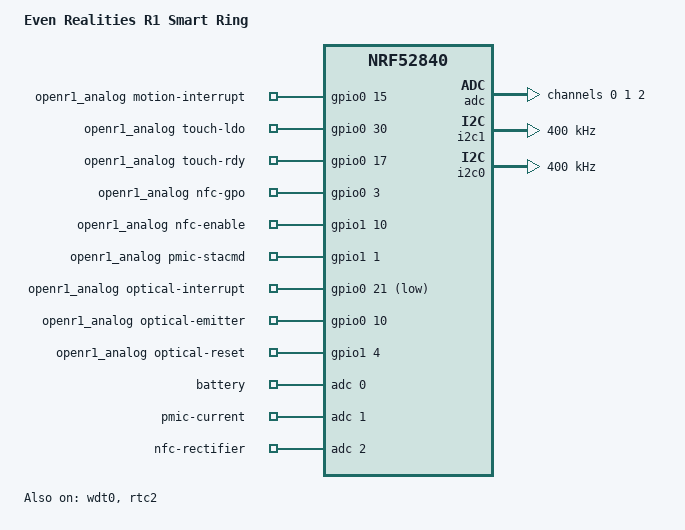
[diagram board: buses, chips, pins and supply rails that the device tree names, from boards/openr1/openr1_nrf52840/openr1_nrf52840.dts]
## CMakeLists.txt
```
# SPDX-License-Identifier: Apache-2.0

cmake_minimum_required(VERSION 3.20.0)

list(APPEND BOARD_ROOT ${CMAKE_CURRENT_SOURCE_DIR})
find_package(Zephyr REQUIRED HINTS $ENV{ZEPHYR_BASE})
project(openr1_zephyr)

if(SYSBUILD)
  zephyr_get(OPENR1_BMA456_ROOT SYSBUILD GLOBAL)
  zephyr_get(OPENR1_LIS2DW12_ROOT SYSBUILD GLOBAL)
  zephyr_get(OPENR1_ST25DVXXKC_ROOT SYSBUILD GLOBAL)
  zephyr_get(OPENR1_FLASHDB_ROOT SYSBUILD GLOBAL)
  zephyr_get(OPENR1_GOODIX_DEMOCODE_ROOT SYSBUILD GLOBAL)
endif()

get_filename_component(OPENR1_ROOT "${CMAKE_CURRENT_SOURCE_DIR}/../../.." ABSOLUTE)

if(NOT DEFINED OPENR1_BMA456_ROOT OR
   NOT EXISTS "${OPENR1_BMA456_ROOT}/bma4.c" OR
   NOT EXISTS "${OPENR1_BMA456_ROOT}/bma456w.c")
  message(FATAL_ERROR "OPENR1_BMA456_ROOT must name the pinned Bosch BMA456 SensorAPI root")
endif()
if(NOT DEFINED OPENR1_LIS2DW12_ROOT OR
   NOT EXISTS "${OPENR1_LIS2DW12_ROOT}/lis2dw12_reg.c")
  message(FATAL_ERROR "OPENR1_LIS2DW12_ROOT must name the pinned ST LIS2DW12 provider root")
endif()
if(NOT DEFINED OPENR1_ST25DVXXKC_ROOT OR
   NOT EXISTS "${OPENR1_ST25DVXXKC_ROOT}/st25dvxxkc.c" OR
   NOT EXISTS "${OPENR1_ST25DVXXKC_ROOT}/st25dvxxkc_reg.c")
  message(FATAL_ERROR "OPENR1_ST25DVXXKC_ROOT must name the pinned ST25DVxxKC component root")
endif()
if(NOT DEFINED OPENR1_FLASHDB_ROOT OR
   NOT EXISTS "${OPENR1_FLASHDB_ROOT}/src/fdb.c" OR
   NOT EXISTS "${OPENR1_FLASHDB_ROOT}/src/fdb_tsdb.c" OR
   NOT EXISTS "${OPENR1_FLASHDB_ROOT}/port/fal/src/fal_partition.c")
  message(FATAL_ERROR "OPENR1_FLASHDB_ROOT must name pinned FlashDB 2.0.0 with bundled FAL 0.5.99")
endif()
if(NOT DEFINED OPENR1_GOODIX_DEMOCODE_ROOT OR
   NOT EXISTS "${OPENR1_GOODIX_DEMOCODE_ROOT}/LICENSE" OR
   NOT EXISTS "${OPENR1_GOODIX_DEMOCODE_ROOT}/demo_code/demo_kernel_code/kernel/gh_demo.c" OR
   NOT EXISTS "${OPENR1_GOODIX_DEMOCODE_ROOT}/demo_code/demo_kernel_code/driver/src/gh_drv_control.c")
  message(FATAL_ERROR "OPENR1_GOODIX_DEMOCODE_ROOT must name the pinned Goodix GH3X2X democode root")
endif()
get_filename_component(OPENR1_BMA456_ROOT "${OPENR1_BMA456_ROOT}" ABSOLUTE)
get_filename_component(OPENR1_LIS2DW12_ROOT "${OPENR1_LIS2DW12_ROOT}" ABSOLUTE)
get_filename_component(OPENR1_ST25DVXXKC_ROOT "${OPENR1_ST25DVXXKC_ROOT}" ABSOLUTE)
get_filename_component(OPENR1_FLASHDB_ROOT "${OPENR1_FLASHDB_ROOT}" ABSOLUTE)
get_filename_component(OPENR1_GOODIX_DEMOCODE_ROOT "${OPENR1_GOODIX_DEMOCODE_ROOT}" ABSOLUTE)

set(OPENR1_GOODIX_DRIVER_DIR
  ${OPENR1_GOODIX_DEMOCODE_ROOT}/demo_code/demo_kernel_code/driver)
set(OPENR1_GOODIX_KERNEL_DIR
  ${OPENR1_GOODIX_DEMOCODE_ROOT}/demo_code/demo_kernel_code/kernel)
set(OPENR1_GOODIX_MODULE_DIR
  ${OPENR1_GOODIX_DEMOCODE_ROOT}/demo_code/demo_kernel_code/module)
set(OPENR1_GOODIX_ALGO_CALL_DIR
  ${OPENR1_GOODIX_DEMOCODE_ROOT}/demo_code/demo_algo_code/goodix_algo_call/inc)
set(OPENR1_GOODIX_SOURCES
  ${OPENR1_GOODIX_DRIVER_DIR}/src/gh_drv_config.c
  ${OPENR1_GOODIX_DRIVER_DIR}/src/gh_drv_control.c
  ${OPENR1_GOODIX_DRIVER_DIR}/src/gh_drv_dump.c
  ${OPENR1_GOODIX_DRIVER_DIR}/src/gh_drv_interface.c
  ${OPENR1_GOODIX_KERNEL_DIR}/gh_demo.c
  ${OPENR1_GOODIX_KERNEL_DIR}/gh_demo_hook.c
  ${OPENR1_GOODIX_KERNEL_DIR}/gh_demo_reg_array.c
  ${OPENR1_GOODIX_KERNEL_DIR}/gh_demo_user.c
  ${OPENR1_GOODIX_MODULE_DIR}/gh_agc/gh_agc.c
  ${OPENR1_GOODIX_MODULE_DIR}/gh_other/gh_changeinttime.c
  ${OPENR1_GOODIX_MODULE_DIR}/gh_other/gh_movedetect.c
  ${OPENR1_GOODIX_MODULE_DIR}/gh_soft_adt/gh_multi_sen_pro.c
  ${OPENR1_GOODIX_DEMOCODE_ROOT}/algo_lib/algo_params/HR/04_EXCLUSIVE/goodix_hba_config.c
  ${OPENR1_GOODIX_DEMOCODE_ROOT}/algo_lib/algo_params/goodix_hrv_config.c
  ${OPENR1_GOODIX_DEMOCODE_ROOT}/algo_lib/algo_params/SPO2/goodix_spo2_config_for_gh3x2x-v2.23_7ecd2a.c
)

set(OPENR1_PORTABLE_SOURCES
  ${OPENR1_ROOT}/src/r1_crc.c
  ${OPENR1_ROOT}/src/r1_protocol.c
  ${OPENR1_ROOT}/src/r1_health.c
  ${OPENR1_ROOT}/src/r1_health_db.c
  ${OPENR1_ROOT}/src/r1_twi_sync.c
  ${OPENR1_ROOT}/src/r1_retained_log.c
  ${OPENR1_ROOT}/src/r1_reset_trace.c
  ${OPENR1_ROOT}/src/r1_reset_reason.c
  ${OPENR1_ROOT}/src/r1_state.c
  ${OPENR1_ROOT}/src/r1_storage.c
  ${OPENR1_ROOT}/src/r1_kv_store.c
  ${OPENR1_ROOT}/src/r1_nv_recovery.c
  ${OPENR1_ROOT}/src/r1_sleep_db.c
  ${OPENR1_ROOT}/src/r1_persistence.c
  ${OPENR1_ROOT}/src/r1_connection_params.c
  ${OPENR1_ROOT}/src/r1_peer_target.c
  ${OPENR1_ROOT}/src/r1_event.c
  ${OPENR1_ROOT}/src/r1_event_bus.c
  ${OPENR1_ROOT}/src/r1_dispatch.c
  ${OPENR1_ROOT}/src/r1_crypto.c
  ${OPENR1_ROOT}/src/r1_goodix.c
  ${OPENR1_ROOT}/src/r1_iqs7211e.c
  ${OPENR1_ROOT}/src/r1_st25dvxxkc.c
  ${OPENR1_ROOT}/src/r1_power_lease.c
  ${OPENR1_ROOT}/src/r1_battery.c
  ${OPENR1_ROOT}/src/r1_motion.c
  ${OPENR1_ROOT}/src/r1_wear.c
  ${OPENR1_ROOT}/src/r1_clock.c
  ${OPENR1_ROOT}/src/r1_gpio_registry.c
  ${OPENR1_ROOT}/src/r1_runtime.c
  ${OPENR1_ROOT}/platform/nrf52840/r1_nrf52840.c
  ${OPENR1_ROOT}/platform/nrf52840/openr1_rtc_service.c
  ${OPENR1_ROOT}/port/r1_fal_port.c
  ${OPENR1_ROOT}/port/goodix_gh3x2x/r1_gh3x2x_port.c
  ${OPENR1_ROOT}/port/goodix_gh3x2x/r1_gh3x2x_provider_composer.c
  ${OPENR1_ROOT}/port/goodix_gh3x2x/r1_gh3x2x_reconstructed_roots.c
)

set(OPENR1_RECONSTRUCTED_SOURCES
  ${OPENR1_ROOT}/reconstructed/rtc_device/rtc_device.c
  ${OPENR1_ROOT}/reconstructed/generic_device_registry/generic_device_registry.c
  ${OPENR1_ROOT}/reconstructed/software_twi/software_twi.c
  ${OPENR1_ROOT}/reconstructed/sensor_stream/sensor_stream.c
  ${OPENR1_ROOT}/reconstructed/time_calendar/time_calendar.c
  ${OPENR1_ROOT}/reconstructed/model_data/r1_model_data.c
  ${OPENR1_ROOT}/reconstructed/quantized_runtime/quantized_runtime.c
  ${OPENR1_ROOT}/reconstructed/gxt310/gxt310.c
  ${OPENR1_ROOT}/reconstructed/qma6100/qma6100.c
  ${OPENR1_ROOT}/reconstructed/yhm2710/yhm2710.c
  ${OPENR1_ROOT}/reconstructed/goodix_primitives/goodix_primitives.c
  ${OPENR1_ROOT}/reconstructed/goodix_heap/goodix_heap.c
  ${OPENR1_ROOT}/reconstructed/gomore_primitives/gomore_primitives.c
  ${OPENR1_ROOT}/reconstructed/gomore_tensor_runtime/gomore_tensor_runtime.c
)

target_sources(app PRIVATE
  src/main.c
  src/openr1_bae8_zephyr.c
  src/openr1_analog_zephyr.c
  src/openr1_battery_zephyr.c
  src/openr1_clock_zephyr.c
  src/openr1_health_results_zephyr.c
  src/openr1_gomore_zephyr.c
  src/openr1_motion_zephyr.c
  src/openr1_nfc_zephyr.c
  src/openr1_nfc_resources_zephyr.c
  src/openr1_optical_zephyr.c
  src/openr1_power_zephyr.c
  src/openr1_reset_zephyr.c
  src/openr1_rtc_zephyr.c
  src/openr1_sensor_stream_zephyr.c
  src/openr1_storage_zephyr.c
  src/openr1_software_twi_zephyr.c
  src/openr1_temperature_zephyr.c
  src/openr1_touch_zephyr.c
  src/openr1_twim1_zephyr.c
  src/openr1_databases_zephyr.c
  src/openr1_watchdog_zephyr.c
  src/openr1_yhm2710_zephyr.c
  ${OPENR1_ROOT}/port/goodix_gh3x2x/r1_gh3x2x_bind.c
  ${OPENR1_ROOT}/port/goodix_gh3x2x/r1_gh3x2x_stubs.c
  ${OPENR1_PORTABLE_SOURCES}
  ${OPENR1_RECONSTRUCTED_SOURCES}
  ${OPENR1_BMA456_ROOT}/bma4.c
  ${OPENR1_BMA456_ROOT}/bma456w.c
  ${OPENR1_LIS2DW12_ROOT}/lis2dw12_reg.c
  ${OPENR1_ST25DVXXKC_ROOT}/st25dvxxkc.c
  ${OPENR1_ST25DVXXKC_ROOT}/st25dvxxkc_reg.c
  ${OPENR1_FLASHDB_ROOT}/src/fdb.c
  ${OPENR1_FLASHDB_ROOT}/src/fdb_tsdb.c
  ${OPENR1_FLASHDB_ROOT}/src/fdb_utils.c
  ${OPENR1_FLASHDB_ROOT}/port/fal/src/fal.c
  ${OPENR1_FLASHDB_ROOT}/port/fal/src/fal_flash.c
  ${OPENR1_FLASHDB_ROOT}/port/fal/src/fal_partition.c
  ${OPENR1_GOODIX_SOURCES}
)

target_include_directories(app PRIVATE
  ${OPENR1_ROOT}/include
  ${OPENR1_ROOT}/reconstructed
  ${OPENR1_ROOT}/platform/nrf52840
  ${OPENR1_ROOT}/port
  ${OPENR1_ROOT}/port/goodix_gh3x2x
  ${OPENR1_BMA456_ROOT}
  ${OPENR1_LIS2DW12_ROOT}
  ${OPENR1_ST25DVXXKC_ROOT}
  ${OPENR1_FLASHDB_ROOT}/inc
  ${OPENR1_FLASHDB_ROOT}/port/fal/inc
  ${OPENR1_ROOT}/port/goodix_gh3x2x/config
  ${OPENR1_GOODIX_DRIVER_DIR}/inc
  ${OPENR1_GOODIX_KERNEL_DIR}
  ${OPENR1_GOODIX_MODULE_DIR}/gh_agc
  ${OPENR1_GOODIX_MODULE_DIR}/gh_ecg
  ${OPENR1_GOODIX_MODULE_DIR}/gh_other
  ${OPENR1_GOODIX_MODULE_DIR}/gh_protocol
  ${OPENR1_GOODIX_MODULE_DIR}/gh_soft_adt
  ${OPENR1_GOODIX_DEMOCODE_ROOT}/demo_code/demo_algo_code/goodix_algo_application/inc
  ${OPENR1_GOODIX_ALGO_CALL_DIR}
  ${OPENR1_GOODIX_ALGO_CALL_DIR}/hr_exc
  ${OPENR1_GOODIX_ALGO_CALL_DIR}/spo2_pre_exc
)

# The stock-compatible dual AES adapter remains shared with the nRF5 target;
# this backend selects Zephyr's source-built TinyCrypt AES primitive.
target_compile_definitions(app PRIVATE
  R1_USE_TINYCRYPT=1
  __DATE__="Aug 14 2026"
  __TIME__="00:00:00"
)
target_compile_options(app PRIVATE -Wno-builtin-macro-redefined)

# Zephyr normally garbage-collects uncalled translation-unit sections. The
# reconstructed corpus is itself an auditable firmware deliverable, so retain
# every code and constant section from every reconstructed object.
zephyr_linker_sources(SECTIONS openr1_reconstructed.ld)
zephyr_linker_sources(SECTIONS openr1_goodix.ld)
zephyr_linker_sources(SECTIONS openr1_platform.ld)
```

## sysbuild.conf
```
# Build a transparent boot chain together with the R1 application.
SB_CONFIG_BOOTLOADER_MCUBOOT=y
SB_CONFIG_BOOT_SIGNATURE_TYPE_RSA=n
SB_CONFIG_BOOT_SIGNATURE_TYPE_ECDSA_P256=y
```

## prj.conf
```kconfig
# Source-built Bluetooth host/controller and R1 BAE8 transport.
CONFIG_BT=y
CONFIG_BT_PERIPHERAL=y
CONFIG_BT_SMP=y
CONFIG_BT_BONDABLE=y
CONFIG_BT_SETTINGS=y
CONFIG_BT_MAX_CONN=2
CONFIG_BT_MAX_PAIRED=2
CONFIG_BT_DEVICE_NAME="EVEN R1_000000"
CONFIG_BT_DEVICE_NAME_DYNAMIC=y
CONFIG_BT_DEVICE_NAME_MAX=18
CONFIG_BT_DEVICE_APPEARANCE=576
CONFIG_BT_GAP_PERIPHERAL_PREF_PARAMS=y
CONFIG_BT_PERIPHERAL_PREF_MIN_INT=12
CONFIG_BT_PERIPHERAL_PREF_MAX_INT=24
CONFIG_BT_PERIPHERAL_PREF_LATENCY=4
CONFIG_BT_PERIPHERAL_PREF_TIMEOUT=600

# Preserve the recovered 244-byte attribute payload limit (247-byte ATT MTU).
CONFIG_BT_L2CAP_TX_MTU=247
CONFIG_BT_BUF_ACL_RX_SIZE=251
CONFIG_BT_BUF_ACL_TX_SIZE=251
CONFIG_BT_PHY_UPDATE=y
CONFIG_BT_DATA_LEN_UPDATE=y
CONFIG_BT_CTLR_DATA_LENGTH_MAX=251
CONFIG_BT_CTLR_PHY_2M=y
CONFIG_BT_USER_PHY_UPDATE=y
CONFIG_BT_ATT_TX_COUNT=4
CONFIG_REBOOT=y

# R1 stock firmware calibrated the low-frequency RC oscillator rather than
# assuming a fitted 32.768 kHz crystal.
CONFIG_CLOCK_CONTROL_NRF_K32SRC_RC=y
CONFIG_CLOCK_CONTROL_NRF_K32SRC_XTAL=n
CONFIG_CLOCK_CONTROL_NRF_K32SRC_RC_CALIBRATION=y

CONFIG_TINYCRYPT=y
CONFIG_TINYCRYPT_AES=y
CONFIG_NEWLIB_LIBC=y
CONFIG_MAIN_STACK_SIZE=4096
CONFIG_SYSTEM_WORKQUEUE_STACK_SIZE=2048
# HBA owns 31 initializer allocations plus six recurrent-state allocations;
# HRV has a separate persistent context. Both are constructed together when
# the Goodix profile starts, so reserve their source-owned runtime heap.
CONFIG_HEAP_MEM_POOL_SIZE=24576

# Direct source-built nRF NVMC access to the recovered 36-page product-data
# region. The flash-map adapter binds kv.bin and sleep.db directly.
CONFIG_FLASH=y
CONFIG_FLASH_MAP=y
CONFIG_FLASH_PAGE_LAYOUT=y
CONFIG_NVS=y
CONFIG_SETTINGS=y
CONFIG_SETTINGS_NVS=y
CONFIG_SETTINGS_NVS_SECTOR_COUNT=3

# Exact recovered SAADC routes. Battery reads remain fail-closed until the
# shared battery-power lease is bound by a typed power adapter.
CONFIG_ADC=y
CONFIG_COUNTER=y

# Recovered touch and motion buses. Touch uses TWIM0 at 400 kHz on P0.12/P0.01
# with a deferred falling-edge RDY input on P0.17; motion uses TWIM1 at
# 400 kHz on P0.11/P0.14 with a deferred rising-edge input on P0.15.
CONFIG_I2C=y
CONFIG_EVENTS=y

# Recovered scheduler-liveness watchdog cadence: 10-second reset, one feed
# channel every 1,024 ticks, running in sleep and paused by a debugger.
CONFIG_SYS_CLOCK_TICKS_PER_SEC=1024
CONFIG_WATCHDOG=y

# No development-board UART, RTT, shell, or log backend is part of the ring
# image. Faults remain visible to a debugger through the Zephyr fault frame.
CONFIG_SERIAL=n
CONFIG_CONSOLE=n
CONFIG_LOG=n
```

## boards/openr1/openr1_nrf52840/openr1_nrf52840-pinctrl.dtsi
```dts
/* SPDX-License-Identifier: Apache-2.0 */

&pinctrl {
	i2c0_default: i2c0_default {
		group1 {
			psels = <NRF_PSEL(TWIM_SDA, 0, 1)>,
				<NRF_PSEL(TWIM_SCL, 0, 12)>;
		};
	};

	i2c0_sleep: i2c0_sleep {
		group1 {
			psels = <NRF_PSEL(TWIM_SDA, 0, 1)>,
				<NRF_PSEL(TWIM_SCL, 0, 12)>;
			low-power-enable;
		};
	};

	i2c1_default: i2c1_default {
		group1 {
			psels = <NRF_PSEL(TWIM_SDA, 0, 14)>,
				<NRF_PSEL(TWIM_SCL, 0, 11)>;
		};
	};

	i2c1_sleep: i2c1_sleep {
		group1 {
			psels = <NRF_PSEL(TWIM_SDA, 0, 14)>,
				<NRF_PSEL(TWIM_SCL, 0, 11)>;
			low-power-enable;
		};
	};
};
```

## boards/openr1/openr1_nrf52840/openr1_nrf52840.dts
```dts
/* SPDX-License-Identifier: Apache-2.0 */

/dts-v1/;
#include <nordic/nrf52840_qiaa.dtsi>
#include <zephyr/dt-bindings/adc/adc.h>
#include <zephyr/dt-bindings/adc/nrf-adc.h>
#include <zephyr/dt-bindings/gpio/gpio.h>
#include <zephyr/dt-bindings/i2c/i2c.h>
#include "openr1_nrf52840-pinctrl.dtsi"

/ {
	model = "Even Realities R1 Smart Ring";
	compatible = "openr1,r1-nrf52840";

	chosen {
		zephyr,sram = &sram0;
		zephyr,flash = &flash0;
		zephyr,code-partition = &slot0_partition;
		zephyr,settings-partition = &settings_partition;
	};

	aliases {
		watchdog0 = &wdt0;
	};

	openr1_analog: openr1_motion: openr1_touch: openr1_nfc: openr1_power: openr1_optical: zephyr,user {
		io-channels = <&adc 0>, <&adc 1>, <&adc 2>;
		io-channel-names = "battery", "pmic-current", "nfc-rectifier";
		motion-bus = <&i2c1>;
		motion-interrupt-gpios = <&gpio0 15 GPIO_ACTIVE_HIGH>;
		touch-bus = <&i2c0>;
		touch-ldo-gpios = <&gpio0 30 GPIO_ACTIVE_HIGH>;
		touch-rdy-gpios = <&gpio0 17 GPIO_ACTIVE_HIGH>;
		nfc-bus = <&i2c1>;
		nfc-gpo-gpios = <&gpio0 3 GPIO_ACTIVE_HIGH>;
		nfc-enable-gpios = <&gpio1 10 GPIO_ACTIVE_HIGH>;
		pmic-stacmd-gpios = <&gpio1 1 GPIO_ACTIVE_HIGH>;
		optical-interrupt-gpios = <&gpio0 21 GPIO_ACTIVE_LOW>;
		optical-emitter-gpios = <&gpio0 10 GPIO_ACTIVE_HIGH>;
		optical-reset-gpios = <&gpio1 4 GPIO_ACTIVE_HIGH>;
	};
};
&uicr {
	gpio-as-nreset;
};

&gpiote {
	status = "okay";
};

&wdt0 {
	status = "okay";
};

/* RTC0 is owned by the Bluetooth controller and RTC1 by the Zephyr system
 * clock. The recovered `sys rtc` service uses the remaining RTC2 at 8 Hz. */
&rtc2 {
	status = "okay";
	prescaler = <4095>;
	interrupts = <36 6>;
};

&gpio0 {
	status = "okay";
};

&gpio1 {
	status = "okay";
};

&adc {
	status = "okay";
	#address-cells = <1>;
	#size-cells = <0>;

	channel@0 {
		reg = <0>;
		zephyr,gain = "ADC_GAIN_1_2";
		zephyr,reference = "ADC_REF_INTERNAL";
		zephyr,acquisition-time = <ADC_ACQ_TIME(ADC_ACQ_TIME_MICROSECONDS, 40)>;
		zephyr,input-positive = <NRF_SAADC_AIN5>; /* P0.29: battery */
		zephyr,resolution = <12>;
		zephyr,oversampling = <0>;
	};

	channel@1 {
		reg = <1>;
		zephyr,gain = "ADC_GAIN_1_2";
		zephyr,reference = "ADC_REF_INTERNAL";
		zephyr,acquisition-time = <ADC_ACQ_TIME(ADC_ACQ_TIME_MICROSECONDS, 40)>;
		zephyr,input-positive = <NRF_SAADC_AIN3>; /* P0.05: PMIC current */
		zephyr,resolution = <12>;
		zephyr,oversampling = <0>;
	};

	channel@2 {
		reg = <2>;
		zephyr,gain = "ADC_GAIN_1_6";
		zephyr,reference = "ADC_REF_INTERNAL";
		zephyr,acquisition-time = <ADC_ACQ_TIME(ADC_ACQ_TIME_MICROSECONDS, 10)>;
		zephyr,input-positive = <NRF_SAADC_AIN2>; /* P0.04: NFC rectifier */
		zephyr,resolution = <12>;
		zephyr,oversampling = <0>;
	};
};

&i2c1 {
	compatible = "nordic,nrf-twim";
	status = "okay";
	clock-frequency = <I2C_BITRATE_FAST>;
	pinctrl-0 = <&i2c1_default>;
	pinctrl-1 = <&i2c1_sleep>;
	pinctrl-names = "default", "sleep";
};

&i2c0 {
	compatible = "nordic,nrf-twim";
	status = "okay";
	clock-frequency = <I2C_BITRATE_FAST>;
	pinctrl-0 = <&i2c0_default>;
	pinctrl-1 = <&i2c0_sleep>;
	pinctrl-names = "default", "sleep";
};

&flash0 {
	partitions {
		compatible = "fixed-partitions";
		#address-cells = <1>;
		#size-cells = <1>;

		boot_partition: partition@0 {
			label = "mcuboot";
			reg = <0x00000000 0x00027000>;
		};

		slot0_partition: partition@27000 {
			label = "image-0";
			reg = <0x00027000 0x000aa000>;
		};

		settings_partition: partition@d1000 {
			label = "openr1-settings";
			reg = <0x000d1000 0x00003000>;
		};

		openr1_data_partition: partition@d4000 {
			label = "openr1-data";
			reg = <0x000d4000 0x00024000>;
		};

		migration_reserve_partition: partition@f8000 {
			label = "retail-boot-migration-reserve";
			reg = <0x000f8000 0x00008000>;
		};
	};
};
```

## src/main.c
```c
#include <stdint.h>

#include <zephyr/bluetooth/bluetooth.h>
#include <zephyr/kernel.h>
#include <zephyr/settings/settings.h>

#include "openr1_bae8_zephyr.h"
#include "openr1_analog_zephyr.h"
#include "openr1_battery_zephyr.h"
#include "openr1_clock_zephyr.h"
#include "openr1_databases_zephyr.h"
#include "openr1_health_results_zephyr.h"
#include "openr1_gomore_zephyr.h"
#include "openr1_motion_zephyr.h"
#include "openr1_nfc_zephyr.h"
#include "openr1_nfc_resources_zephyr.h"
#include "openr1_optical_zephyr.h"
#include "openr1_power_zephyr.h"
#include "openr1_reset_zephyr.h"
#include "openr1_rtc_zephyr.h"
#include "openr1_sensor_stream_zephyr.h"
#include "openr1_storage_zephyr.h"
#include "openr1_temperature_zephyr.h"
#include "openr1_touch_zephyr.h"
#include "openr1_watchdog_zephyr.h"
#include "openr1_yhm2710_zephyr.h"

void openr1_platform_initialize(void);
r1_runtime *openr1_platform_runtime(void);
uint32_t openr1_platform_poll(uint32_t now_tick);

static void touch_enabled_changed(void *context, bool enabled) {
    (void)context;
    (void)openr1_touch_zephyr_set_enabled(enabled);
}

int main(void) {
    openr1_reset_zephyr_initialize();
    openr1_platform_initialize();
    int error = openr1_watchdog_zephyr_initialize();
    if (error == 0) {
        error = openr1_storage_zephyr_initialize();
    }
    if (error == 0 && !openr1_storage_zephyr_structured_log_typed(
            1u, "openR1 storage ready", NULL, 0u)) {
        error = -1;
    }
    if (error == 0) {
        error = openr1_rtc_zephyr_initialize();
    }
    if (error == 0) {
        error = openr1_clock_zephyr_initialize(openr1_platform_runtime());
    }
    if (error == 0) {
        error = openr1_databases_zephyr_initialize(openr1_platform_runtime());
    }
    if (error == 0) {
        error = openr1_power_zephyr_initialize();
    }
    if (error == 0) {
        error = openr1_motion_zephyr_initialize();
    }
    if (error == 0) {
        error = openr1_nfc_zephyr_initialize();
    }
    if (error == 0) {
        error = openr1_touch_zephyr_initialize();
    }
    if (error == 0) {
        r1_runtime *runtime = openr1_platform_runtime();
        r1_runtime_set_touch_handler(runtime, touch_enabled_changed, NULL);
        touch_enabled_changed(NULL, runtime->device.touch_enabled);
    }
    if (error == 0) {
        error = openr1_analog_zephyr_initialize();
    }
    if (error == 0) {
        error = openr1_yhm2710_zephyr_initialize();
    }
    if (error == 0) {
        error = openr1_battery_zephyr_initialize(openr1_platform_runtime());
    }
    if (error == 0) {
        error = openr1_temperature_zephyr_initialize();
    }
    if (error == 0) {
        error = openr1_sensor_stream_zephyr_initialize();
    }
    if (error == 0) {
        error = openr1_optical_zephyr_initialize();
    }
    if (error == 0) {
        error = openr1_health_results_zephyr_initialize(
            openr1_platform_runtime());
    }
    if (error == 0) {
        openr1_sensor_stream_zephyr_health_policy_request(
            openr1_platform_runtime()->device.health_settings[4] != 0u);
    }
    if (error == 0) {
        error = openr1_nfc_resources_zephyr_initialize();
    }
    if (error == 0) {
        error = bt_enable(NULL);
    }
    if (error == 0) {
        error = settings_load();
    }
    if (error == 0) {
        error = openr1_bae8_zephyr_initialize();
    }
    if (error == 0) {
        error = openr1_bae8_zephyr_start_advertising();
    }
    if (error != 0) {
        return error;
    }

    for (;;) {
        uint32_t epoch_seconds = 0u;
        if (openr1_clock_zephyr_epoch(&epoch_seconds)) {
            (void)r1_runtime_schedule_automatic_health_sync(
                openr1_platform_runtime(), epoch_seconds);
            /* Service is intentionally drain-aware: R1_ERROR_STATE means a
             * prior leg is still occupying the recovered shared BLE queue. */
            (void)r1_runtime_service_automatic_health_sync(
                openr1_platform_runtime());
        }
        (void)openr1_gomore_zephyr_sync(openr1_platform_runtime());
        uint32_t wait = openr1_platform_poll(k_uptime_get_32());
        const uint32_t stream_wait = openr1_sensor_stream_zephyr_poll();
        (void)openr1_gomore_zephyr_poll(openr1_platform_runtime());
        (void)openr1_storage_zephyr_structured_log_service(
            k_uptime_get_32());
        if (wait == UINT32_MAX) {
            wait = 100u;
        }
        if (stream_wait < wait) {
            wait = stream_wait;
        }
        k_sleep(K_MSEC(wait));
    }
    return 0;
}
```

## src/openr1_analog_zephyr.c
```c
#include "openr1_analog_zephyr.h"

#include <errno.h>
#include <stddef.h>
#include <stdint.h>

#include <zephyr/device.h>
#include <zephyr/devicetree.h>
#include <zephyr/drivers/adc.h>
#include <zephyr/kernel.h>

#include "openr1/r1_battery.h"
#include "openr1/r1_runtime.h"

#define OPENR1_ANALOG_NODE DT_NODELABEL(openr1_analog)
#define OPENR1_ANALOG_SAMPLE_DELAY K_MSEC(2)

static const struct adc_dt_spec battery_channel =
    ADC_DT_SPEC_GET_BY_NAME(OPENR1_ANALOG_NODE, battery);
static const struct adc_dt_spec pmic_current_channel =
    ADC_DT_SPEC_GET_BY_NAME(OPENR1_ANALOG_NODE, pmic_current);
static const struct adc_dt_spec nfc_rectifier_channel =
    ADC_DT_SPEC_GET_BY_NAME(OPENR1_ANALOG_NODE, nfc_rectifier);

K_MUTEX_DEFINE(analog_mutex);

static openr1_analog_zephyr_power_ops battery_power;
static void *battery_power_context;
static bool battery_power_bound;
static bool analog_ready;

static int configure_channel(const struct adc_dt_spec *channel) {
    if (!adc_is_ready_dt(channel)) {
        return -ENODEV;
    }
    return adc_channel_setup_dt(channel);
}

static int sample_channel(const struct adc_dt_spec *channel,
                          int16_t *samples, size_t count) {
    if (samples == NULL || count == 0u) {
        return -EINVAL;
    }
    if (!analog_ready) {
        return -EACCES;
    }
    if (k_is_in_isr()) {
        return -EWOULDBLOCK;
    }
    int error = k_mutex_lock(&analog_mutex, K_SECONDS(5));
    if (error != 0) {
        return error;
    }
    for (size_t index = 0u; index < count; ++index) {
        struct adc_sequence sequence = {
            .buffer = &samples[index],
            .buffer_size = sizeof(samples[index]),
        };
        error = adc_sequence_init_dt(channel, &sequence);
        if (error == 0) {
            error = adc_read_dt(channel, &sequence);
        }
        if (error != 0) {
            break;
        }
        if (index + 1u < count) {
            k_sleep(OPENR1_ANALOG_SAMPLE_DELAY);
        }
    }
    (void)k_mutex_unlock(&analog_mutex);
    return error;
}

int openr1_analog_zephyr_initialize(void) {
    if (k_is_in_isr()) {
        return -EWOULDBLOCK;
    }
    int error = k_mutex_lock(&analog_mutex, K_SECONDS(5));
    if (error != 0) {
        return error;
    }
    if (analog_ready) {
        error = -EALREADY;
    } else {
        error = configure_channel(&battery_channel);
        if (error == 0) {
            error = configure_channel(&pmic_current_channel);
        }
        if (error == 0) {
            error = configure_channel(&nfc_rectifier_channel);
        }
        if (error == 0) {
            /* The recovered port executed two raw 64,000-cycle delays. */
            k_busy_wait(1000u);
            k_busy_wait(1000u);
            analog_ready = true;
        }
    }
    (void)k_mutex_unlock(&analog_mutex);
    return error;
}

int openr1_analog_zephyr_bind_power(
    const openr1_analog_zephyr_power_ops *operations, void *context) {
    if (!analog_ready) {
        return -EACCES;
    }
    if (operations == NULL || operations->acquire_battery_power == NULL ||
        operations->release_battery_power == NULL) {
        return -EINVAL;
    }
    if (k_is_in_isr()) {
        return -EWOULDBLOCK;
    }
    int error = k_mutex_lock(&analog_mutex, K_SECONDS(5));
    if (error != 0) {
        return error;
    }
    if (battery_power_bound) {
        error = -EALREADY;
    } else {
        battery_power = *operations;
        battery_power_context = context;
        battery_power_bound = true;
    }
    (void)k_mutex_unlock(&analog_mutex);
    return error;
}

int openr1_analog_zephyr_battery_millivolts(
    int16_t nv_compensation_millivolts, r1_charge_state charge,
    uint16_t *millivolts) {
    if (millivolts == NULL) {
        return -EINVAL;
    }
    if (!battery_power_bound ||
        !battery_power.acquire_battery_power(battery_power_context)) {
        return -ENOTSUP;
    }
    int16_t raw[R1_BATTERY_SAMPLE_COUNT];
    const int error = sample_channel(
        &battery_channel, raw, R1_BATTERY_SAMPLE_COUNT);
    battery_power.release_battery_power(battery_power_context);
    if (error != 0) {
        return error;
    }
    uint16_t samples[R1_BATTERY_SAMPLE_COUNT];
    for (size_t index = 0u; index < R1_BATTERY_SAMPLE_COUNT; ++index) {
        samples[index] = raw[index] > 0 ? (uint16_t)raw[index] : 0u;
    }
    return r1_battery_runtime_millivolts(
        samples, R1_BATTERY_SAMPLE_COUNT, nv_compensation_millivolts,
        charge, millivolts) ? 0 : -EIO;
}

int openr1_analog_zephyr_update_runtime_battery(
    r1_runtime *runtime, int16_t nv_compensation_millivolts,
    r1_charge_state charge, uint32_t elapsed_seconds) {
    if (runtime == NULL) {
        return -EINVAL;
    }
    uint16_t millivolts = 0u;
    const int error = openr1_analog_zephyr_battery_millivolts(
        nv_compensation_millivolts, charge, &millivolts);
    if (error != 0) {
        return error;
    }
    return r1_runtime_update_battery(
        runtime, charge, millivolts, elapsed_seconds) ? 0 : -EINVAL;
}

int openr1_analog_zephyr_pmic_current_millivolts(uint16_t *millivolts) {
    if (millivolts == NULL) {
        return -EINVAL;
    }
    int16_t samples[R1_PMIC_CURRENT_SAMPLE_COUNT];
    const int error = sample_channel(
        &pmic_current_channel, samples, R1_PMIC_CURRENT_SAMPLE_COUNT);
    if (error != 0) {
        return error;
    }
    return r1_pmic_current_sense_millivolts(
        samples, R1_PMIC_CURRENT_SAMPLE_COUNT, millivolts) ? 0 : -EIO;
}

int openr1_analog_zephyr_nfc_rectifier_millivolts(uint16_t *millivolts) {
    if (millivolts == NULL) {
        return -EINVAL;
    }
    int16_t samples[R1_NFC_RECTIFIER_SAMPLE_COUNT];
    const int error = sample_channel(
        &nfc_rectifier_channel, samples, R1_NFC_RECTIFIER_SAMPLE_COUNT);
    if (error != 0) {
        return error;
    }
    return r1_nfc_rectifier_millivolts(
        samples, R1_NFC_RECTIFIER_SAMPLE_COUNT, millivolts) ? 0 : -EIO;
}

__attribute__((used, section(".openr1_platform_api")))
const openr1_analog_zephyr_api openr1_analog_zephyr_api_table = {
    openr1_analog_zephyr_initialize,
    openr1_analog_zephyr_bind_power,
    openr1_analog_zephyr_battery_millivolts,
    openr1_analog_zephyr_update_runtime_battery,
    openr1_analog_zephyr_pmic_current_millivolts,
    openr1_analog_zephyr_nfc_rectifier_millivolts,
};
```

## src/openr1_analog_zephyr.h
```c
#ifndef OPENR1_ANALOG_ZEPHYR_H
#define OPENR1_ANALOG_ZEPHYR_H

#include <stdbool.h>
#include <stdint.h>

#include "openr1/r1_state.h"

typedef struct r1_runtime r1_runtime;

typedef struct {
    bool (*acquire_battery_power)(void *context);
    void (*release_battery_power)(void *context);
} openr1_analog_zephyr_power_ops;

typedef struct {
    int (*initialize)(void);
    int (*bind_power)(const openr1_analog_zephyr_power_ops *, void *);
    int (*battery_millivolts)(int16_t, r1_charge_state, uint16_t *);
    int (*update_runtime_battery)(
        r1_runtime *, int16_t, r1_charge_state, uint32_t);
    int (*pmic_current_millivolts)(uint16_t *);
    int (*nfc_rectifier_millivolts)(uint16_t *);
} openr1_analog_zephyr_api;

int openr1_analog_zephyr_initialize(void);
int openr1_analog_zephyr_bind_power(
    const openr1_analog_zephyr_power_ops *operations, void *context);
int openr1_analog_zephyr_battery_millivolts(
    int16_t nv_compensation_millivolts, r1_charge_state charge,
    uint16_t *millivolts);
int openr1_analog_zephyr_update_runtime_battery(
    r1_runtime *runtime, int16_t nv_compensation_millivolts,
    r1_charge_state charge, uint32_t elapsed_seconds);
int openr1_analog_zephyr_pmic_current_millivolts(uint16_t *millivolts);
int openr1_analog_zephyr_nfc_rectifier_millivolts(uint16_t *millivolts);

extern const openr1_analog_zephyr_api openr1_analog_zephyr_api_table;

#endif
```

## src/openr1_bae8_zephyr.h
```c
#ifndef OPENR1_BAE8_ZEPHYR_H
#define OPENR1_BAE8_ZEPHYR_H

#include <stdbool.h>
#include <stddef.h>
#include <stdint.h>

#include "openr1/r1_storage.h"

int openr1_bae8_zephyr_initialize(void);
int openr1_bae8_zephyr_start_advertising(void);
int openr1_bae8_zephyr_revoke_owner(void);
bool openr1_bae8_zephyr_diagnostic_export_begin(
    uint16_t connection, r1_log_export_info *info);
bool openr1_bae8_zephyr_diagnostic_export_read(
    uint16_t connection, uint32_t offset, uint8_t *output, size_t length);
void openr1_bae8_zephyr_diagnostic_export_finish(uint16_t connection);
uint32_t openr1_bae8_zephyr_remove_ring_failures(void);

#endif
```

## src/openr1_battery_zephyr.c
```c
#include "openr1_battery_zephyr.h"

#include <errno.h>
#include <limits.h>
#include <stdbool.h>
#include <stddef.h>
#include <stdint.h>

#include <zephyr/kernel.h>
#include <zephyr/sys/atomic.h>

#include "openr1/r1_dispatch.h"
#include "openr1/r1_nv_recovery.h"
#include "openr1_analog_zephyr.h"
#include "openr1_databases_zephyr.h"
#include "openr1_yhm2710_zephyr.h"

typedef struct {
    int (*initialize)(r1_runtime *runtime);
    int (*refresh)(void);
    uint32_t (*update_count)(void);
    int (*last_error)(void);
} openr1_battery_zephyr_api;

K_MUTEX_DEFINE(battery_service_mutex);

static r1_runtime *battery_runtime;
static int16_t voltage_compensation_millivolts;
static int64_t last_success_uptime_ms;
static atomic_t successful_updates;
static atomic_t last_error;
static bool has_successful_update;
static bool battery_service_initialized;

static void record_error(int error) {
    if (error != 0) {
        atomic_set(&last_error, (atomic_val_t)error);
    }
}

static uint32_t elapsed_seconds(int64_t now_ms) {
    if (!has_successful_update || now_ms <= last_success_uptime_ms) {
        return 0u;
    }
    const uint64_t elapsed =
        (uint64_t)(now_ms - last_success_uptime_ms) / UINT64_C(1000);
    return elapsed > UINT32_MAX ? UINT32_MAX : (uint32_t)elapsed;
}

int openr1_battery_zephyr_refresh(void) {
    if (!battery_service_initialized || battery_runtime == NULL) {
        return -EACCES;
    }
    if (k_is_in_isr()) {
        return -EWOULDBLOCK;
    }
    int error = k_mutex_lock(&battery_service_mutex, K_SECONDS(5));
    if (error != 0) {
        record_error(error);
        return error;
    }
    r1_charge_state charge = R1_CHARGE_NOT_CHARGING;
    error = openr1_yhm2710_zephyr_charge_state(&charge);
    const int64_t now_ms = k_uptime_get();
    if (error == 0) {
        error = openr1_analog_zephyr_update_runtime_battery(
            battery_runtime, voltage_compensation_millivolts, charge,
            elapsed_seconds(now_ms));
    }
    if (error == 0) {
        last_success_uptime_ms = now_ms;
        has_successful_update = true;
        atomic_inc(&successful_updates);
        atomic_clear(&last_error);
    } else {
        record_error(error);
    }
    (void)k_mutex_unlock(&battery_service_mutex);
    return error;
}

static void observe_request(void *context, const r1_model *request) {
    (void)context;
    if (request != NULL && request->module == R1_MODULE_SYSTEM &&
        request->command == R1_COMMAND_SYSTEM &&
        request->subcommand == R1_SYSTEM_SUBCOMMAND_DEVICE_STATUS &&
        (request->status & UINT8_C(0x02)) == 0u) {
        (void)openr1_battery_zephyr_refresh();
    }
}

int openr1_battery_zephyr_initialize(r1_runtime *runtime) {
    if (runtime == NULL) {
        return -EINVAL;
    }
    if (battery_service_initialized) {
        return -EALREADY;
    }
    battery_runtime = runtime;
    voltage_compensation_millivolts = 0;
    last_success_uptime_ms = 0;
    has_successful_update = false;
    atomic_clear(&successful_updates);
    atomic_clear(&last_error);

    r1_nv_battery_configuration configuration;
    if (openr1_databases_zephyr_battery_configuration(&configuration) &&
        configuration.voltage_compensation_valid) {
        voltage_compensation_millivolts =
            configuration.voltage_compensation_millivolts;
    }
    battery_service_initialized = true;
    r1_runtime_set_request_observer(runtime, observe_request, NULL);

    /* Stock refreshes the same runtime service from its status accessors.
     * Seed the protocol-visible state once at boot; an unavailable PMIC/ADC
     * is recorded but does not prevent the rest of the ring from starting. */
    (void)openr1_battery_zephyr_refresh();
    return 0;
}

uint32_t openr1_battery_zephyr_update_count(void) {
    return (uint32_t)atomic_get(&successful_updates);
}

int openr1_battery_zephyr_last_error(void) {
    return (int)atomic_get(&last_error);
}

__attribute__((used, section(".openr1_platform_api")))
static const openr1_battery_zephyr_api battery_zephyr_api = {
    openr1_battery_zephyr_initialize,
    openr1_battery_zephyr_refresh,
    openr1_battery_zephyr_update_count,
    openr1_battery_zephyr_last_error,
};
```

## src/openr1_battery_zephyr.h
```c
#ifndef OPENR1_BATTERY_ZEPHYR_H
#define OPENR1_BATTERY_ZEPHYR_H

#include <stdint.h>

#include "openr1/r1_runtime.h"

int openr1_battery_zephyr_initialize(r1_runtime *runtime);
int openr1_battery_zephyr_refresh(void);
uint32_t openr1_battery_zephyr_update_count(void);
int openr1_battery_zephyr_last_error(void);

#endif
```

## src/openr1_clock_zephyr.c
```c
#include "openr1_clock_zephyr.h"

#include <errno.h>
#include <stdint.h>
#include <time.h>

#include <zephyr/kernel.h>

#include "openr1/r1_clock.h"
#include "openr1/r1_runtime.h"
#include "openr1_databases_zephyr.h"
#include "openr1_rtc_zephyr.h"
#include "time_calendar/time_calendar.h"

#define OPENR1_CLOCK_CADENCE_TICKS 1024u
/* The hour transition is delivered in this thread and may synchronously run
 * the exact 128-byte record builder plus FlashDB append. Keep enough stack for
 * that admitted path instead of retaining the query-only worker allocation. */
#define OPENR1_CLOCK_STACK_BYTES 1536u

typedef struct {
    bool (*epoch)(uint32_t *);
    bool (*utc_offset)(int16_t *);
    bool (*local_tm)(struct tm *);
} openr1_clock_zephyr_api;

static r1_clock platform_clock;
static r1_runtime *platform_runtime;
static struct k_thread clock_thread;
K_THREAD_STACK_DEFINE(clock_stack, OPENR1_CLOCK_STACK_BYTES);
K_MUTEX_DEFINE(clock_mutex);
static uint32_t adopted_epoch;
static int16_t adopted_offset_minutes;
static bool adoption_valid;
static bool clock_ready;
static bool local_hour_known;
static uint8_t last_local_hour;

static uint32_t current_ticks(void) {
    return (uint32_t)k_uptime_ticks();
}

bool openr1_clock_zephyr_adopt_phone_time(uint32_t epoch_seconds,
                                          int16_t utc_offset_minutes) {
    if (!clock_ready || k_is_in_isr() ||
        k_mutex_lock(&clock_mutex, K_FOREVER) != 0) {
        return false;
    }
    bool adopted = false;
    if (r1_clock_synchronize(&platform_clock, epoch_seconds,
                             utc_offset_minutes, current_ticks()) == R1_OK) {
        adopted_epoch = epoch_seconds;
        adopted_offset_minutes = utc_offset_minutes;
        adopted = openr1_rtc_zephyr_adopt_phone_time(
            epoch_seconds, utc_offset_minutes);
        adoption_valid = adopted;
    }
    (void)k_mutex_unlock(&clock_mutex);
    return adopted;
}

static void clock_worker(void *first, void *second, void *third) {
    (void)first;
    (void)second;
    (void)third;
    for (;;) {
        const uint32_t state_epoch = platform_runtime->device.unix_seconds;
        const int16_t state_offset =
            (int16_t)platform_runtime->device.timezone_minutes_raw;
        bool changed = false;
        if (state_epoch != 0u &&
            k_mutex_lock(&clock_mutex, K_FOREVER) == 0) {
            changed = !adoption_valid || state_epoch != adopted_epoch ||
                state_offset != adopted_offset_minutes;
            (void)k_mutex_unlock(&clock_mutex);
        }
        if (changed) {
            uint32_t old_epoch = 0u;
            int16_t old_offset = 0;
            const bool old_clock_available =
                openr1_clock_zephyr_epoch(&old_epoch) &&
                openr1_clock_zephyr_utc_offset(&old_offset);
            const r1_health_time_transition transition = {
                .old_utc_offset_minutes =
                    old_clock_available ? old_offset : 0,
                .new_utc_offset_minutes = state_offset,
                .old_timestamp_seconds = old_clock_available ? old_epoch : 0u,
                .new_timestamp_seconds = state_epoch,
            };
            r1_health_time_transition_result plan;
            if (openr1_clock_zephyr_adopt_phone_time(
                    state_epoch, state_offset) &&
                r1_health_plan_time_transition(&transition, &plan) == R1_OK &&
                plan.subscriber_broadcast_requested) {
                (void)openr1_databases_zephyr_multicast_time_transition(
                    &transition);
                /* A material correction establishes a new hour baseline; it
                 * is not itself an elapsed local-hour boundary. */
                local_hour_known = false;
            }
        }
        struct tm local;
        if (openr1_clock_zephyr_local_tm(&local) &&
            local.tm_hour >= 0 && local.tm_hour < 24) {
            const uint8_t current_local_hour = (uint8_t)local.tm_hour;
            if (local_hour_known && current_local_hour != last_local_hour) {
                (void)openr1_databases_zephyr_multicast_hour(
                    current_local_hour);
            }
            last_local_hour = current_local_hour;
            local_hour_known = true;
        }
        k_sleep(K_TICKS(OPENR1_CLOCK_CADENCE_TICKS));
    }
}

int openr1_clock_zephyr_initialize(r1_runtime *runtime) {
    if (runtime == NULL) {
        return -EINVAL;
    }
    if (k_is_in_isr()) {
        return -EWOULDBLOCK;
    }
    if (clock_ready) {
        return -EALREADY;
    }
    r1_clock_initialize(&platform_clock, CONFIG_SYS_CLOCK_TICKS_PER_SEC);
    platform_runtime = runtime;
    adopted_epoch = 0u;
    adopted_offset_minutes = 0;
    adoption_valid = false;
    local_hour_known = false;
    last_local_hour = 0u;
    clock_ready = true;
    (void)k_thread_create(
        &clock_thread, clock_stack, K_THREAD_STACK_SIZEOF(clock_stack),
        clock_worker, NULL, NULL, NULL, K_LOWEST_APPLICATION_THREAD_PRIO,
        0, K_NO_WAIT);
    (void)k_thread_name_set(&clock_thread, "openr1-clock");
    return 0;
}

bool openr1_clock_zephyr_epoch(uint32_t *epoch_seconds) {
    if (!clock_ready || epoch_seconds == NULL || k_is_in_isr() ||
        k_mutex_lock(&clock_mutex, K_FOREVER) != 0) {
        return false;
    }
    const bool available = r1_clock_now(
        &platform_clock, current_ticks(), epoch_seconds);
    (void)k_mutex_unlock(&clock_mutex);
    return available;
}

bool openr1_clock_zephyr_utc_offset(int16_t *utc_offset_minutes) {
    if (!clock_ready || utc_offset_minutes == NULL || k_is_in_isr() ||
        k_mutex_lock(&clock_mutex, K_FOREVER) != 0) {
        return false;
    }
    uint32_t epoch = 0u;
    const bool available = r1_clock_now(
        &platform_clock, current_ticks(), &epoch);
    if (available) {
        *utc_offset_minutes = platform_clock.utc_offset_minutes;
    }
    (void)k_mutex_unlock(&clock_mutex);
    return available;
}

bool openr1_clock_zephyr_local_tm(struct tm *out) {
    if (!clock_ready || out == NULL || k_is_in_isr() ||
        k_mutex_lock(&clock_mutex, K_FOREVER) != 0) {
        return false;
    }
    uint32_t local_seconds = 0u;
    const bool available = r1_clock_local_now(
        &platform_clock, current_ticks(), &local_seconds);
    bool converted = false;
    if (available) {
        time_calendar_broken_down broken;
        if (time_calendar_unix_to_broken_down(
                local_seconds, &broken) == &broken) {
            *out = (struct tm){
                .tm_sec = (int)broken.second,
                .tm_min = (int)broken.minute,
                .tm_hour = (int)broken.hour,
                .tm_mday = (int)broken.day,
                .tm_mon = (int)broken.month,
                .tm_year = (int)broken.year,
                .tm_wday = (int)broken.weekday,
                .tm_yday = (int)broken.year_day,
                .tm_isdst = 0,
            };
            converted = true;
        }
    }
    (void)k_mutex_unlock(&clock_mutex);
    return available && converted;
}

__attribute__((used, section(".openr1_platform_api")))
static const openr1_clock_zephyr_api clock_zephyr_api = {
    openr1_clock_zephyr_epoch,
    openr1_clock_zephyr_utc_offset,
    openr1_clock_zephyr_local_tm,
};
```

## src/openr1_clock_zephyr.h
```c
#ifndef OPENR1_CLOCK_ZEPHYR_H
#define OPENR1_CLOCK_ZEPHYR_H

#include <stdbool.h>
#include <stdint.h>
#include <time.h>

typedef struct r1_runtime r1_runtime;

int openr1_clock_zephyr_initialize(r1_runtime *runtime);
bool openr1_clock_zephyr_adopt_phone_time(uint32_t epoch_seconds,
                                          int16_t utc_offset_minutes);
bool openr1_clock_zephyr_epoch(uint32_t *epoch_seconds);
bool openr1_clock_zephyr_utc_offset(int16_t *utc_offset_minutes);
bool openr1_clock_zephyr_local_tm(struct tm *out);

#endif
```

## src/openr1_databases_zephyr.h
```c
#ifndef OPENR1_DATABASES_ZEPHYR_H
#define OPENR1_DATABASES_ZEPHYR_H

#include <stdbool.h>
#include <stddef.h>

#include "openr1/r1_kv_store.h"
#include "openr1/r1_event_bus.h"
#include "openr1/r1_health_db.h"
#include "openr1/r1_nv_recovery.h"
#include "openr1/r1_runtime.h"
#include "openr1/r1_sleep_db.h"

int openr1_databases_zephyr_initialize(r1_runtime *runtime);
bool openr1_databases_zephyr_kv_ready(void);
bool openr1_databases_zephyr_health_ready(void);
bool openr1_databases_zephyr_sleep_ready(void);
r1_kv_store *openr1_databases_zephyr_kv_store(void);
r1_event_bus *openr1_databases_zephyr_event_bus(void);
r1_health_db_startup_result *openr1_databases_zephyr_health_startup(void);
void *openr1_databases_zephyr_health_handle(void);
uint32_t openr1_databases_zephyr_recovery_records_visited(void);
uint32_t openr1_databases_zephyr_recovery_records_decoded(void);
uint32_t openr1_databases_zephyr_recovery_records_restored(void);
uint32_t openr1_databases_zephyr_recovery_records_rejected(void);
uint32_t openr1_databases_zephyr_health_records_appended(void);
uint32_t openr1_databases_zephyr_health_append_failures(void);
uint32_t openr1_databases_zephyr_time_recoveries(void);
uint32_t openr1_databases_zephyr_time_recovery_failures(void);
uint32_t openr1_databases_zephyr_time_daily_resets(void);
uint32_t openr1_databases_zephyr_destructive_actions_suppressed(void);
uint32_t openr1_databases_zephyr_gomore_reinitializations(void);
uint32_t openr1_databases_zephyr_gomore_reinitialization_failures(void);
uint32_t openr1_databases_zephyr_health_settings_updates_persisted(void);
uint32_t openr1_databases_zephyr_health_settings_update_failures(void);
uint32_t openr1_databases_zephyr_cursor_updates_persisted(void);
uint32_t openr1_databases_zephyr_cursor_update_failures(void);
const r1_health_sync_cursor_state *
openr1_databases_zephyr_health_sync_cursors(void);
bool openr1_databases_zephyr_temperature_calibration(
    r1_temperature_pair_calibration *calibration);
bool openr1_databases_zephyr_accelerometer_calibration(
    r1_motion_axis_calibration *calibration);
bool openr1_databases_zephyr_battery_configuration(
    r1_nv_battery_configuration *configuration);
bool openr1_databases_zephyr_ring_size(uint8_t *ring_size);
bool openr1_databases_zephyr_product_serial(
    uint8_t serial[R1_NV_PRODUCT_SERIAL_BYTES]);
bool openr1_databases_zephyr_factory_mode(void);
r1_error openr1_databases_zephyr_persist_peer_targets(
    const uint8_t first_target[R1_PEER_ADDRESS_SIZE],
    const uint8_t second_target[R1_PEER_ADDRESS_SIZE]);
r1_error openr1_databases_zephyr_remove_ring_metadata(void);
/* Local/service-mode recovery only. The caller must establish physical
 * authorization; this API is intentionally not registered with BLE dispatch.
 * Changed calibration and power fields are cached immediately, while callers
 * should reboot before relying on already-running sensor providers. */
r1_error openr1_databases_zephyr_apply_local_nv_recovery(
    const uint8_t *body, size_t length, uint16_t expected_crc,
    uint8_t *changed_records);
r1_error openr1_databases_zephyr_multicast_time_transition(
    const r1_health_time_transition *transition);
r1_error openr1_databases_zephyr_multicast_hour(uint8_t current_local_hour);
r1_error openr1_databases_zephyr_consume_temperature_event(
    const void *payload, size_t length);
r1_error openr1_databases_zephyr_consume_heart_rate_event(
    const void *payload, size_t length);
r1_error openr1_databases_zephyr_consume_spo2_event(
    const void *payload, size_t length);
r1_error openr1_databases_zephyr_consume_hrv_event(
    const void *payload, size_t length);
r1_error openr1_databases_zephyr_consume_activity_cumulative(
    const uint32_t activity[2], uint8_t sleep_result_status);
r1_error openr1_databases_zephyr_consume_sleep_record(
    const uint8_t *payload, size_t length);
r1_sleep_db *openr1_databases_zephyr_sleep_db(void);

#endif
```

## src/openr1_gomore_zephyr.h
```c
#ifndef OPENR1_GOMORE_ZEPHYR_H
#define OPENR1_GOMORE_ZEPHYR_H

#include <stdbool.h>
#include <stddef.h>
#include <stdint.h>

#include "openr1/r1_runtime.h"

/* Reconcile the source-built engine and execute the complete reconstructed
 * topic-input, resampling, sixteen-stage, and output-snapshot path. */
int openr1_gomore_zephyr_sync(r1_runtime *runtime);
int openr1_gomore_zephyr_poll(r1_runtime *runtime);
/* Recovered time/profile/failure reset: discard resume state, disable the
 * dynamic sleep-optical slot, clear staged input, and initialize afresh. */
int openr1_gomore_zephyr_reinitialize(r1_runtime *runtime);
bool openr1_gomore_zephyr_initialized(void);
int32_t openr1_gomore_zephyr_last_status(void);
size_t openr1_gomore_zephyr_allocated_bytes(void);
bool openr1_gomore_zephyr_previous_state_available(void);
bool openr1_gomore_zephyr_previous_state_restored(void);
uint32_t openr1_gomore_zephyr_previous_state_writes(void);
uint32_t openr1_gomore_zephyr_previous_state_write_failures(void);
uint32_t openr1_gomore_zephyr_updates(void);
uint32_t openr1_gomore_zephyr_update_failures(void);
uint32_t openr1_gomore_zephyr_activity_publication_failures(void);
uint32_t openr1_gomore_zephyr_sleep_publications(void);
uint32_t openr1_gomore_zephyr_sleep_publication_failures(void);
uint32_t openr1_gomore_zephyr_authorization_failures(void);
uint32_t openr1_gomore_zephyr_reinitializations(void);
uint32_t openr1_gomore_zephyr_reinitialization_failures(void);

#endif
```
